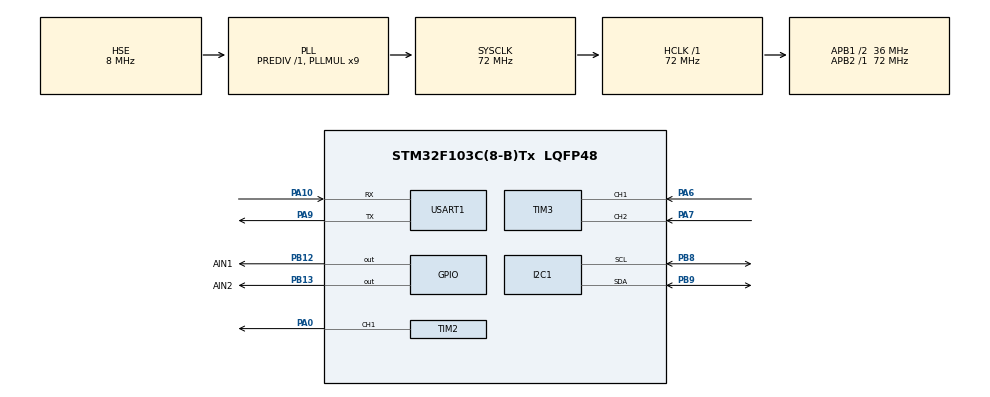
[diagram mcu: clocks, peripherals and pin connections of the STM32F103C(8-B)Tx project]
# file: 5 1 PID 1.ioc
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Dma.Request0=USART1_RX
Dma.Request1=USART1_TX
Dma.USART1_RX.0.Direction=DMA_PERIPH_TO_MEMORY
Dma.USART1_RX.0.Instance=DMA1_Channel5
Dma.USART1_RX.0.MemDataAlignment=DMA_MDATAALIGN_BYTE
Dma.USART1_RX.0.MemInc=DMA_MINC_ENABLE
Dma.USART1_RX.0.Mode=DMA_NORMAL
Dma.USART1_RX.0.PeriphDataAlignment=DMA_PDATAALIGN_BYTE
Dma.USART1_RX.0.PeriphInc=DMA_PINC_DISABLE
Dma.USART1_RX.0.Priority=DMA_PRIORITY_LOW
Dma.USART1_TX.1.Direction=DMA_MEMORY_TO_PERIPH
Dma.USART1_TX.1.Instance=DMA1_Channel4
Dma.USART1_TX.1.MemDataAlignment=DMA_MDATAALIGN_BYTE
Dma.USART1_TX.1.MemInc=DMA_MINC_ENABLE
Dma.USART1_TX.1.Mode=DMA_NORMAL
Dma.USART1_TX.1.PeriphDataAlignment=DMA_PDATAALIGN_BYTE
Dma.USART1_TX.1.PeriphInc=DMA_PINC_DISABLE
Dma.USART1_TX.1.Priority=DMA_PRIORITY_LOW
FREERTOS.Tasks01=defaultTask,24,128,StartDefaultTask,Default,NULL,Dynamic,NULL,NULL
I2C1.I2C_Mode=I2C_Fast
Mcu.Family=STM32F1
Mcu.Name=STM32F103C(8-B)Tx
Mcu.Package=LQFP48
NVIC.DMA1_Channel4_IRQn=true\:5\:0\:false\:false\:true\:true\:false\:true\:true
NVIC.DMA1_Channel5_IRQn=true\:5\:0\:false\:false\:true\:true\:false\:true\:true
NVIC.PriorityGroup=NVIC_PRIORITYGROUP_4
NVIC.TIM1_UP_IRQn=true\:5\:0\:false\:false\:true\:true\:true\:true\:true
NVIC.TIM4_IRQn=true\:15\:0\:false\:false\:true\:false\:false\:true\:true
NVIC.TimeBase=TIM4_IRQn
NVIC.TimeBaseIP=TIM4
NVIC.USART1_IRQn=true\:5\:0\:false\:false\:true\:true\:false\:true\:true
PA0-WKUP.Signal=S_TIM2_CH1_ETR
PA10.Mode=Asynchronous
PA10.Signal=USART1_RX
PA13.Mode=Serial_Wire
PA13.Signal=SYS_JTMS-SWDIO
PA14.Mode=Serial_Wire
PA14.Signal=SYS_JTCK-SWCLK
PA6.Signal=S_TIM3_CH1
PA7.Signal=S_TIM3_CH2
PA9.Mode=Asynchronous
PA9.Signal=USART1_TX
PB12.GPIO_Label=AIN1
PB12.Signal=GPIO_Output
PB13.GPIO_Label=AIN2
PB13.Signal=GPIO_Output
PB8.Mode=I2C
PB8.Signal=I2C1_SCL
PB9.Mode=I2C
PB9.Signal=I2C1_SDA
PC14-OSC32_IN.Mode=LSE-External-Oscillator
PC14-OSC32_IN.Signal=RCC_OSC32_IN
PC15-OSC32_OUT.Mode=LSE-External-Oscillator
PC15-OSC32_OUT.Signal=RCC_OSC32_OUT
PD0-OSC_IN.Mode=HSE-External-Oscillator
PD0-OSC_IN.Signal=RCC_OSC_IN
PD1-OSC_OUT.Mode=HSE-External-Oscillator
PD1-OSC_OUT.Signal=RCC_OSC_OUT
ProjectManager.HeapSize=0x200
ProjectManager.StackSize=0x400
ProjectManager.TargetToolchain=MDK-ARM V5.32
RCC.AHBFreq_Value=72000000
RCC.APB1CLKDivider=RCC_HCLK_DIV2
RCC.APB1Freq_Value=36000000
RCC.APB1TimFreq_Value=72000000
RCC.APB2Freq_Value=72000000
RCC.APB2TimFreq_Value=72000000
RCC.HCLKFreq_Value=72000000
RCC.PLLMUL=RCC_PLL_MUL9
RCC.PLLSourceVirtual=RCC_PLLSOURCE_HSE
RCC.SYSCLKFreq_VALUE=72000000
RCC.SYSCLKSource=RCC_SYSCLKSOURCE_PLLCLK
RCC.USBFreq_Value=72000000
SH.S_TIM2_CH1_ETR.0=TIM2_CH1,PWM Generation1 CH1
SH.S_TIM3_CH1.0=TIM3_CH1,Encoder_Interface
SH.S_TIM3_CH2.0=TIM3_CH2,Encoder_Interface
TIM1.Period=400-1
TIM1.Prescaler=7200-1
TIM2.Channel-PWM\ Generation1\ CH1=TIM_CHANNEL_1
TIM2.Period=100-1
TIM2.Prescaler=72-1
TIM3.EncoderMode=TIM_ENCODERMODE_TI12
TIM3.IC1Filter=0x6
TIM3.IC2Filter=0x6
TIM3.IC2Polarity=TIM_ICPOLARITY_FALLING
USART1.VirtualMode=VM_ASYNC
VP_FREERTOS_VS_CMSIS_V2.Mode=CMSIS_V2
VP_SYS_VS_tim4.Mode=TIM4
VP_TIM1_VS_ClockSourceINT.Mode=Internal
board=custom

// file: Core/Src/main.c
/* USER CODE BEGIN Header */
/**
  ******************************************************************************
  * @file           : main.c
  * @brief          : Main program body
  ******************************************************************************
  * @attention
  *
  * Copyright (c) 2025 STMicroelectronics.
  * All rights reserved.
  *
  * This software is licensed under terms that can be found in the LICENSE file
  * in the root directory of this software component.
  * If no LICENSE file comes with this software, it is provided AS-IS.
  *
  ******************************************************************************
  */
/* USER CODE END Header */
#include "main.h"
#include "cmsis_os.h"
#include "dma.h"
#include "i2c.h"
#include "tim.h"
#include "usart.h"
#include "gpio.h"

void SystemClock_Config(void);
void MX_FREERTOS_Init(void);

int main(void)
{

  /* MCU Configuration--------------------------------------------------------*/

  /* Reset of all peripherals, Initializes the Flash interface and the Systick. */
  HAL_Init();

  /* Configure the system clock */
  SystemClock_Config();

  /* Initialize all configured peripherals */
  MX_GPIO_Init();
  MX_DMA_Init();
  MX_I2C1_Init();
  MX_USART1_UART_Init();
  MX_TIM2_Init();
  MX_TIM3_Init();
  MX_TIM1_Init();

  /* Init scheduler */
  osKernelInitialize();  /* Call init function for freertos objects (in cmsis_os2.c) */
  MX_FREERTOS_Init();

  /* Start scheduler */
  osKernelStart();

  /* We should never get here as control is now taken by the scheduler */

  /* Infinite loop */
  while (1)
  {

  }
}

void SystemClock_Config(void)
{
  RCC_OscInitTypeDef RCC_OscInitStruct = {0};
  RCC_ClkInitTypeDef RCC_ClkInitStruct = {0};

  /** Initializes the RCC Oscillators according to the specified parameters
  * in the RCC_OscInitTypeDef structure.
  */
  RCC_OscInitStruct.OscillatorType = RCC_OSCILLATORTYPE_HSE;
  RCC_OscInitStruct.HSEState = RCC_HSE_ON;
  RCC_OscInitStruct.HSEPredivValue = RCC_HSE_PREDIV_DIV1;
  RCC_OscInitStruct.HSIState = RCC_HSI_ON;
  RCC_OscInitStruct.PLL.PLLState = RCC_PLL_ON;
  RCC_OscInitStruct.PLL.PLLSource = RCC_PLLSOURCE_HSE;
  RCC_OscInitStruct.PLL.PLLMUL = RCC_PLL_MUL9;
  if (HAL_RCC_OscConfig(&RCC_OscInitStruct) != HAL_OK)
  {
    Error_Handler();
  }

  /** Initializes the CPU, AHB and APB buses clocks
  */
  RCC_ClkInitStruct.ClockType = RCC_CLOCKTYPE_HCLK|RCC_CLOCKTYPE_SYSCLK
                              |RCC_CLOCKTYPE_PCLK1|RCC_CLOCKTYPE_PCLK2;
  RCC_ClkInitStruct.SYSCLKSource = RCC_SYSCLKSOURCE_PLLCLK;
  RCC_ClkInitStruct.AHBCLKDivider = RCC_SYSCLK_DIV1;
  RCC_ClkInitStruct.APB1CLKDivider = RCC_HCLK_DIV2;
  RCC_ClkInitStruct.APB2CLKDivider = RCC_HCLK_DIV1;

  if (HAL_RCC_ClockConfig(&RCC_ClkInitStruct, FLASH_LATENCY_2) != HAL_OK)
  {
    Error_Handler();
  }
}

void Error_Handler(void)
{
  __disable_irq();
  while (1)
  {
  }
}

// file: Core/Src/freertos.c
/* USER CODE BEGIN Header */
/**
  ******************************************************************************
  * File Name          : freertos.c
  * Description        : Code for freertos applications
  ******************************************************************************
  * @attention
  *
  * Copyright (c) 2025 STMicroelectronics.
  * All rights reserved.
  *
  * This software is licensed under terms that can be found in the LICENSE file
  * in the root directory of this software component.
  * If no LICENSE file comes with this software, it is provided AS-IS.
  *
  ******************************************************************************
  */
/* USER CODE END Header */

#include "FreeRTOS.h"
#include "task.h"
#include "main.h"
#include "cmsis_os.h"

/* USER CODE BEGIN Includes */
#include <usart.h>
#include <data.h>
#include <string.h>
#include <encoder.h>
#include <stdio.h>
#include <screen.h>
#include <PID.h>
#include <motor.h>
#include <tim.h>
/* USER CODE END Includes */

/* USER CODE BEGIN PTD */
void command_process(uint8_t* data,uint16_t length);
void OLED(void *ptr);
/* USER CODE END PTD */

/* USER CODE BEGIN Variables */
osThreadId_t OLEDHandle;
/* USER CODE END Variables */
/* Definitions for defaultTask */
osThreadId_t defaultTaskHandle;
const osThreadAttr_t defaultTask_attributes = {
  .name = "defaultTask",
  .stack_size = 128 * 4,
  .priority = (osPriority_t) osPriorityNormal,
};

void StartDefaultTask(void *argument);

void MX_FREERTOS_Init(void); /* (MISRA C 2004 rule 8.1) */

void MX_FREERTOS_Init(void) {
  /* USER CODE BEGIN Init */
  OLED_Init();
  OLED_ON();
  OLED_CLS();
  HAL_UARTEx_ReceiveToIdle_DMA (&huart1,buff,sizeof(buff));
  HAL_TIM_PWM_Start(&htim2,TIM_CHANNEL_1);
  HAL_TIM_Encoder_Start(&htim3,TIM_CHANNEL_ALL);
  HAL_TIM_Base_Start_IT(&htim1);
  package[channel*4+0]=0x00;
  package[channel*4+1]=0x00;
  package[channel*4+2]=0x80;
  package[channel*4+3]=0x7f;
  /* USER CODE END Init */

  /* Create the thread(s) */
  /* creation of defaultTask */
  defaultTaskHandle = osThreadNew(StartDefaultTask, NULL, &defaultTask_attributes);

  /* USER CODE BEGIN RTOS_THREADS */
  OLEDHandle = osThreadNew(OLED,NULL,&(osThreadAttr_t){
    .name = "OLED",
    .stack_size = 1024,
    .priority = osPriorityNormal,
  });
  /* USER CODE END RTOS_THREADS */

}

void StartDefaultTask(void *argument)
{
  for(;;)
  {
    osDelay(1);
  }
}

/* USER CODE BEGIN Application */
void HAL_UARTEx_RxEventCallback(UART_HandleTypeDef *huart, uint16_t Size)
{
  if(huart ->Instance == USART1 ){
    command_process(buff,Size);
    HAL_UARTEx_ReceiveToIdle_DMA (&huart1,buff,sizeof(buff));  //命令处理
  }
}

void command_process(uint8_t* data,uint16_t length){
  float value = 0;
  char command[20];
  data[length]='\0';
  sscanf((char*)data,"%s %f",command,&value);
  if(strcmp(command,"Spead")==0){
    Spead_Tar = value;
  }
  else if(strcmp(command,"Location")==0){
    Location_Tar = value;
  }
}

void HAL_TIM_PeriodElapsedCallback(TIM_HandleTypeDef *htim){
  if (htim->Instance == TIM4)
  {
    HAL_IncTick();
  }

  if(htim ->Instance == TIM1){
    Spead = (float)Get_Cur_Spead()*Spead_trans; //单位转换,速度单位为弧度每秒,通过减速比换算将磁铁的旋转转换为圆盘的旋转,将40ms的平均速度认为是瞬时速度
    Location +=Spead*0.04f; //累加为位置,单位为弧度

    nor_Spead_Tar = normalize_motor(Spead_Tar);
    nor_Spead = normalize_motor(Spead);
    nor_output = PID(nor_Spead_Tar,nor_Spead);
    output = (int8_t)denormalize_PWM(nor_output);
    PWM_SET(output);
  }
}

void OLED(void *ptr){
  char charbuff[32];
  while (1)
  {
    sprintf(charbuff,"Spead:%+06.1f",Spead);
    OLED_ShowString(0,0,charbuff);
    sprintf(charbuff,"Location:%+06.1f",Location);
    OLED_ShowString(0,2,charbuff);
    sprintf(charbuff,"output:%+04d",output);
    OLED_ShowString(0,4,charbuff);

    //发送数据给上位机
    memcpy(package+4*0,&Spead_Tar,4);
    memcpy(package+4*1,&Spead,4);
    HAL_UART_Transmit_DMA(&huart1,(const uint8_t *)package,channel*4+4);
    osDelay(10);
  }

}
/* USER CODE END Application */
